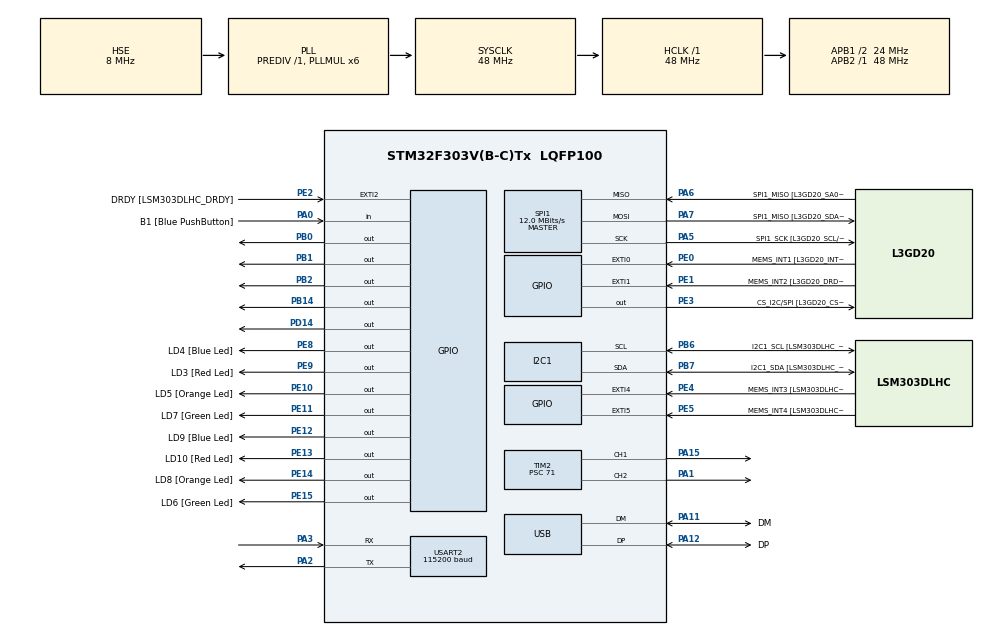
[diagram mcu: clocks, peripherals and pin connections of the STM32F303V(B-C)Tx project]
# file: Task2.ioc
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I2C1.Timing=0x2000090E
I2C1.Timing-I2C=0x2000090E
Mcu.Family=STM32F3
Mcu.Name=STM32F303V(B-C)Tx
Mcu.Package=LQFP100
NVIC.PriorityGroup=NVIC_PRIORITYGROUP_0
NVIC.TIM2_IRQn=true\:0\:0\:false\:false\:true\:true\:true\:true
NVIC.TIM6_DAC_IRQn=true\:0\:0\:false\:false\:true\:true\:true\:true
NVIC.USB_LP_CAN_RX0_IRQn=true\:0\:0\:false\:false\:true\:false\:true\:true
PA0.GPIO_Label=B1 [Blue PushButton]
PA0.Signal=GPIO_Input
PA1.Signal=S_TIM2_CH2
PA11.GPIO_Label=DM
PA11.Mode=Device
PA11.Signal=USB_DM
PA12.GPIO_Label=DP
PA12.Mode=Device
PA12.Signal=USB_DP
PA13.GPIO_Label=SWDIO
PA13.Mode=Serial_Wire
PA13.Signal=SYS_JTMS-SWDIO
PA14.GPIO_Label=SWCLK
PA14.Mode=Serial_Wire
PA14.Signal=SYS_JTCK-SWCLK
PA15.Signal=S_TIM2_CH1_ETR
PA2.Mode=Asynchronous
PA2.Signal=USART2_TX
PA3.Mode=Asynchronous
PA3.Signal=USART2_RX
PA5.GPIO_Label=SPI1_SCK [L3GD20_SCL/SPC]
PA5.Mode=Full_Duplex_Master
PA5.Signal=SPI1_SCK
PA6.GPIO_Label=SPI1_MISO [L3GD20_SA0/SDO]
PA6.Mode=Full_Duplex_Master
PA6.Signal=SPI1_MISO
PA7.GPIO_Label=SPI1_MISO [L3GD20_SDA/SDI/SDO]
PA7.Mode=Full_Duplex_Master
PA7.Signal=SPI1_MOSI
PB0.Signal=GPIO_Output
PB1.Signal=GPIO_Output
PB14.Signal=GPIO_Output
PB2.Signal=GPIO_Output
PB3.GPIO_Label=SWO
PB3.Signal=SYS_JTDO-TRACESWO
PB6.GPIO_Label=I2C1_SCL [LSM303DLHC_SCL]
PB6.GPIO_Pu=GPIO_PULLUP
PB6.Mode=I2C
PB6.Signal=I2C1_SCL
PB7.GPIO_Label=I2C1_SDA [LSM303DLHC_SDA]
PB7.GPIO_Pu=GPIO_PULLUP
PB7.Mode=I2C
PB7.Signal=I2C1_SDA
PC14-OSC32_IN.GPIO_Label=OSC32_IN
PC14-OSC32_IN.Signal=RCC_OSC32_IN
PC15-OSC32_OUT.GPIO_Label=OSC32_OUT
PC15-OSC32_OUT.Signal=RCC_OSC32_OUT
PD14.Signal=GPIO_Output
PE0.GPIO_Label=MEMS_INT1 [L3GD20_INT1]
PE0.GPIO_ModeDefaultEXTI=GPIO_MODE_EVT_RISING
PE0.Signal=GPXTI0
PE1.GPIO_Label=MEMS_INT2 [L3GD20_DRDY/INT2]
PE1.GPIO_ModeDefaultEXTI=GPIO_MODE_EVT_RISING
PE1.Signal=GPXTI1
PE10.GPIO_Label=LD5 [Orange Led]
PE10.Signal=GPIO_Output
PE11.GPIO_Label=LD7 [Green Led]
PE11.Signal=GPIO_Output
PE12.GPIO_Label=LD9 [Blue Led]
PE12.Signal=GPIO_Output
PE13.GPIO_Label=LD10 [Red Led]
PE13.Signal=GPIO_Output
PE14.GPIO_Label=LD8 [Orange Led]
PE14.Signal=GPIO_Output
PE15.GPIO_Label=LD6 [Green Led]
PE15.Signal=GPIO_Output
PE2.GPIO_Label=DRDY [LSM303DLHC_DRDY]
PE2.GPIO_ModeDefaultEXTI=GPIO_MODE_EVT_RISING
PE2.Signal=GPXTI2
PE3.GPIO_Label=CS_I2C/SPI [L3GD20_CS_I2C/SPI]
PE3.Signal=GPIO_Output
PE4.GPIO_Label=MEMS_INT3 [LSM303DLHC_INT1]
PE4.GPIO_ModeDefaultEXTI=GPIO_MODE_EVT_RISING
PE4.Signal=GPXTI4
PE5.GPIO_Label=MEMS_INT4 [LSM303DLHC_INT2]
PE5.GPIO_ModeDefaultEXTI=GPIO_MODE_EVT_RISING
PE5.Signal=GPXTI5
PE8.GPIO_Label=LD4 [Blue Led]
PE8.Signal=GPIO_Output
PE9.GPIO_Label=LD3 [Red Led]
PE9.Signal=GPIO_Output
PF0-OSC_IN.GPIO_Label=OSC_IN
PF0-OSC_IN.Mode=HSE-External-Clock-Source
PF0-OSC_IN.Signal=RCC_OSC_IN
PF1-OSC_OUT.GPIO_Label=OSC_OUT
PF1-OSC_OUT.Signal=RCC_OSC_OUT
ProjectManager.HeapSize=0x200
ProjectManager.StackSize=0x400
ProjectManager.TargetToolchain=CMake
RCC.AHBFreq_Value=48000000
RCC.APB1CLKDivider=RCC_HCLK_DIV2
RCC.APB1Freq_Value=24000000
RCC.APB1TimFreq_Value=48000000
RCC.APB2Freq_Value=48000000
RCC.APB2TimFreq_Value=48000000
RCC.CortexFreq_Value=48000000
RCC.HCLKFreq_Value=48000000
RCC.HSE_VALUE=8000000
RCC.HSI_VALUE=8000000
RCC.LSE_VALUE=32768
RCC.PLLMUL=RCC_PLL_MUL6
RCC.SYSCLKFreq_VALUE=48000000
RCC.SYSCLKSourceVirtual=RCC_SYSCLKSOURCE_PLLCLK
RCC.USBFreq_Value=48000000
SH.S_TIM2_CH1_ETR.0=TIM2_CH1,PWM Generation1 CH1
SH.S_TIM2_CH2.0=TIM2_CH2,PWM Generation2 CH2
SPI1.BaudRatePrescaler=SPI_BAUDRATEPRESCALER_4
SPI1.BaudRatePrescaler-Full_Duplex_Master=SPI_BAUDRATEPRESCALER_2
SPI1.CalculateBaudRate=12.0 MBits/s
SPI1.CalculateBaudRate-Full_Duplex_Master=24.0 MBits/s
SPI1.DataSize=SPI_DATASIZE_8BIT
SPI1.Direction=SPI_DIRECTION_2LINES
SPI1.Mode=SPI_MODE_MASTER
SPI1.Mode-Full_Duplex_Master=SPI_MODE_MASTER
SPI1.VirtualType=VM_MASTER
TIM2.Channel-PWM\ Generation1\ CH1=TIM_CHANNEL_1
TIM2.Channel-PWM\ Generation2\ CH2=TIM_CHANNEL_2
TIM2.Period=999
TIM2.Prescaler=71
TIM6.Period=4999
TIM6.Prescaler=47
USART2.BaudRate=115200
USART2.VirtualMode-Asynchronous=VM_ASYNC
USB_DEVICE.CLASS_NAME_FS=CDC
USB_DEVICE.VirtualMode=Cdc
USB_DEVICE.VirtualModeFS=Cdc_FS
VP_TIM6_VS_ClockSourceINT.Mode=Enable_Timer
VP_USB_DEVICE_VS_USB_DEVICE_CDC_FS.Mode=CDC_FS
board=STM32F3DISCOVERY

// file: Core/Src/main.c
/* USER CODE BEGIN Header */
/**
******************************************************************************
* @file : main.c
* @brief : Lab 11 Task 2 - PID Controlled Self-Balancing Robot
* STM32F3Discovery + Keyestudio KS0193 Balance Shield
* - L3GD20 Gyro (SPI1), LSM303DLHC Accel (I2C1)
* - TB6612FNG Motor Driver via PWM + GPIO
* - Timer ISR for fixed-rate control loop (200 Hz)
* - UART output via USART2 (PA2=TX)
******************************************************************************
*/
/* USER CODE END Header */
#include "main.h"
#include "usb_device.h"

/* USER CODE BEGIN Includes */
#include <stdio.h>
#include "app_control.h"
#include "app_imu.h"
#include "app_uart.h"
/* USER CODE END Includes */

I2C_HandleTypeDef hi2c1;

SPI_HandleTypeDef hspi1;

TIM_HandleTypeDef htim2;
TIM_HandleTypeDef htim6;

UART_HandleTypeDef huart2;

void SystemClock_Config(void);
static void MX_GPIO_Init(void);
static void MX_I2C1_Init(void);
static void MX_SPI1_Init(void);
static void MX_TIM2_Init(void);
static void MX_TIM6_Init(void);
static void MX_USART2_UART_Init(void);

/* USER CODE BEGIN 0 */
/**
 * @brief Timer interrupt callback for control loop execution.
 * @param htim Pointer to the timer handle.
 */
void HAL_TIM_PeriodElapsedCallback(TIM_HandleTypeDef *htim) {
    if (htim->Instance == TIM6) {
        // Trigger the high-frequency control loop at every TIM6 overflow
        Control_LoopTick();
    }
}

/* USER CODE END 0 */

int main(void)
{

    /* MCU Configuration--------------------------------------------------------*/

    /* Reset of all peripherals, Initializes the Flash interface and the Systick. */
    HAL_Init();

    /* Configure the system clock */
    SystemClock_Config();

    /* Initialize all configured peripherals */
    MX_GPIO_Init();
    MX_I2C1_Init();
    MX_SPI1_Init();
    MX_TIM2_Init();
    MX_TIM6_Init();
    MX_USART2_UART_Init();
    MX_USB_DEVICE_Init();
    /* USER CODE BEGIN 2 */

    HAL_Delay(100);

    // Initialize sensors
    Gyro_Init();
    Accel_Init();
    HAL_Delay(100);

    // Gyro offset calibration (keep robot still during this phase)
    Gyro_Calibration();

    // Accel offset calibration (keep robot still in the reference pose)
    Accel_Calibration();

    const Gyro_Data *gyro_cal = Gyro_GetCalibration();
    const Accel_Data *accel_cal = Accel_GetCalibration();

    // Verify sensors
    char msg[128];
    uint8_t who = Gyro_ReadReg(GYRO_WHO_AM_I);
    snprintf(msg, sizeof(msg), "Gyro WHO_AM_I: 0x%02X\r\n", who);
    UART_Print(msg);

    uint8_t acc_who = 0;
    HAL_I2C_Mem_Read(&hi2c1, ACC_I2C_ADDR, 0x0F,
    I2C_MEMADD_SIZE_8BIT, &acc_who, 1, HAL_MAX_DELAY);
    snprintf(msg, sizeof(msg), "Accel WHO_AM_I: 0x%02X\r\n", acc_who);
    UART_Print(msg);

    snprintf(msg, sizeof(msg), "Gyro offsets (dps): X=%.3f Y=%.3f Z=%.3f\r\n",
    gyro_cal->offset_x, gyro_cal->offset_y, gyro_cal->offset_z);
    UART_Print(msg);

    snprintf(msg, sizeof(msg), "Accel offsets (mg): X=%.3f Y=%.3f Z=%.3f\r\n",
    accel_cal->offset_x, accel_cal->offset_y, accel_cal->offset_z);
    UART_Print(msg);

    snprintf(msg, sizeof(msg), "PID: Kp=%.1f Ki=%.1f Kd=%.1f DT=%.3f\r\n", KP, KI, KD, DT);
    UART_Print(msg);

    HAL_Delay(500);

    // Start PWM on both motor channels (TIMER 2, Channels 1 & 2)
    HAL_TIM_PWM_Start(&htim2, TIM_CHANNEL_1);
    HAL_TIM_PWM_Start(&htim2, TIM_CHANNEL_2);
    // Initialize PWM comparators to 0 (motors off initially)
    __HAL_TIM_SET_COMPARE(&htim2, TIM_CHANNEL_1, 0);
    __HAL_TIM_SET_COMPARE(&htim2, TIM_CHANNEL_2, 0);

    // Start timer ISR (200 Hz control loop on TIMER 6)
    HAL_TIM_Base_Start_IT(&htim6);

    UART_Print("Control loop started at 200 Hz\r\n");

    /* USER CODE END 2 */

    /* Infinite loop */
    while (1) {

        /* USER CODE BEGIN 3 */
        // Check if there is new telemetry data ready to be displayed
        if (display_flag == 1) {
            display_flag = 0;

            // Read shared variables updated by the control loop
            float angle = shared_angle;
            float pid = shared_pid_output;
            uint8_t cutoff = shared_motor_cutoff;

            // Print telemetry: angle, pid_output (CSV format suitable for plotting)
            snprintf(msg, sizeof(msg), "%.2f,%.2f,%u\r\n", angle, pid, cutoff);
            UART_Print(msg);
        }
    }
    /* USER CODE END 3 */
}

void SystemClock_Config(void)
{
    RCC_OscInitTypeDef RCC_OscInitStruct = {0};
    RCC_ClkInitTypeDef RCC_ClkInitStruct = {0};
    RCC_PeriphCLKInitTypeDef PeriphClkInit = {0};

    /** Initializes the RCC Oscillators according to the specified parameters
    * in the RCC_OscInitTypeDef structure.
    */
    RCC_OscInitStruct.OscillatorType = RCC_OSCILLATORTYPE_HSI|RCC_OSCILLATORTYPE_HSE;
    RCC_OscInitStruct.HSEState = RCC_HSE_BYPASS;
    RCC_OscInitStruct.HSEPredivValue = RCC_HSE_PREDIV_DIV1;
    RCC_OscInitStruct.HSIState = RCC_HSI_ON;
    RCC_OscInitStruct.HSICalibrationValue = RCC_HSICALIBRATION_DEFAULT;
    RCC_OscInitStruct.PLL.PLLState = RCC_PLL_ON;
    RCC_OscInitStruct.PLL.PLLSource = RCC_PLLSOURCE_HSE;
    RCC_OscInitStruct.PLL.PLLMUL = RCC_PLL_MUL6;
    if (HAL_RCC_OscConfig(&RCC_OscInitStruct) != HAL_OK) {
        Error_Handler();
    }

    /** Initializes the CPU, AHB and APB buses clocks
    */
    RCC_ClkInitStruct.ClockType = RCC_CLOCKTYPE_HCLK|RCC_CLOCKTYPE_SYSCLK
    |RCC_CLOCKTYPE_PCLK1|RCC_CLOCKTYPE_PCLK2;
    RCC_ClkInitStruct.SYSCLKSource = RCC_SYSCLKSOURCE_PLLCLK;
    RCC_ClkInitStruct.AHBCLKDivider = RCC_SYSCLK_DIV1;
    RCC_ClkInitStruct.APB1CLKDivider = RCC_HCLK_DIV2;
    RCC_ClkInitStruct.APB2CLKDivider = RCC_HCLK_DIV1;

    if (HAL_RCC_ClockConfig(&RCC_ClkInitStruct, FLASH_LATENCY_1) != HAL_OK) {
        Error_Handler();
    }
    PeriphClkInit.PeriphClockSelection = RCC_PERIPHCLK_USB|RCC_PERIPHCLK_USART2
    |RCC_PERIPHCLK_I2C1;
    PeriphClkInit.Usart2ClockSelection = RCC_USART2CLKSOURCE_PCLK1;
    PeriphClkInit.I2c1ClockSelection = RCC_I2C1CLKSOURCE_HSI;
    PeriphClkInit.USBClockSelection = RCC_USBCLKSOURCE_PLL;
    if (HAL_RCCEx_PeriphCLKConfig(&PeriphClkInit) != HAL_OK) {
        Error_Handler();
    }
}

static void MX_I2C1_Init(void)
{

    hi2c1.Instance = I2C1;
    hi2c1.Init.Timing = 0x2000090E;
    hi2c1.Init.OwnAddress1 = 0;
    hi2c1.Init.AddressingMode = I2C_ADDRESSINGMODE_7BIT;
    hi2c1.Init.DualAddressMode = I2C_DUALADDRESS_DISABLE;
    hi2c1.Init.OwnAddress2 = 0;
    hi2c1.Init.OwnAddress2Masks = I2C_OA2_NOMASK;
    hi2c1.Init.GeneralCallMode = I2C_GENERALCALL_DISABLE;
    hi2c1.Init.NoStretchMode = I2C_NOSTRETCH_DISABLE;
    if (HAL_I2C_Init(&hi2c1) != HAL_OK) {
        Error_Handler();
    }

    /** Configure Analogue filter
    */
    if (HAL_I2CEx_ConfigAnalogFilter(&hi2c1, I2C_ANALOGFILTER_ENABLE) != HAL_OK) {
        Error_Handler();
    }

    /** Configure Digital filter
    */
    if (HAL_I2CEx_ConfigDigitalFilter(&hi2c1, 0) != HAL_OK) {
        Error_Handler();
    }

}

static void MX_SPI1_Init(void)
{

    /* SPI1 parameter configuration*/
    hspi1.Instance = SPI1;
    hspi1.Init.Mode = SPI_MODE_MASTER;
    hspi1.Init.Direction = SPI_DIRECTION_2LINES;
    hspi1.Init.DataSize = SPI_DATASIZE_8BIT;
    hspi1.Init.CLKPolarity = SPI_POLARITY_HIGH;
    hspi1.Init.CLKPhase = SPI_PHASE_2EDGE;
    hspi1.Init.NSS = SPI_NSS_SOFT;
    hspi1.Init.BaudRatePrescaler = SPI_BAUDRATEPRESCALER_8;
    hspi1.Init.FirstBit = SPI_FIRSTBIT_MSB;
    hspi1.Init.TIMode = SPI_TIMODE_DISABLE;
    hspi1.Init.CRCCalculation = SPI_CRCCALCULATION_DISABLE;
    hspi1.Init.CRCPolynomial = 7;
    hspi1.Init.CRCLength = SPI_CRC_LENGTH_DATASIZE;
    hspi1.Init.NSSPMode = SPI_NSS_PULSE_DISABLE;
    if (HAL_SPI_Init(&hspi1) != HAL_OK) {
        Error_Handler();
    }

}

static void MX_TIM2_Init(void)
{

    TIM_MasterConfigTypeDef sMasterConfig = {0};
    TIM_OC_InitTypeDef sConfigOC = {0};

    htim2.Instance = TIM2;
    htim2.Init.Prescaler = 9;
    htim2.Init.CounterMode = TIM_COUNTERMODE_UP;
    htim2.Init.Period = 999;
    htim2.Init.ClockDivision = TIM_CLOCKDIVISION_DIV1;
    htim2.Init.AutoReloadPreload = TIM_AUTORELOAD_PRELOAD_DISABLE;
    if (HAL_TIM_PWM_Init(&htim2) != HAL_OK) {
        Error_Handler();
    }
    sMasterConfig.MasterOutputTrigger = TIM_TRGO_RESET;
    sMasterConfig.MasterSlaveMode = TIM_MASTERSLAVEMODE_DISABLE;
    if (HAL_TIMEx_MasterConfigSynchronization(&htim2, &sMasterConfig) != HAL_OK) {
        Error_Handler();
    }
    sConfigOC.OCMode = TIM_OCMODE_PWM1;
    sConfigOC.Pulse = 0;
    sConfigOC.OCPolarity = TIM_OCPOLARITY_HIGH;
    sConfigOC.OCFastMode = TIM_OCFAST_DISABLE;
    if (HAL_TIM_PWM_ConfigChannel(&htim2, &sConfigOC, TIM_CHANNEL_1) != HAL_OK) {
        Error_Handler();
    }
    if (HAL_TIM_PWM_ConfigChannel(&htim2, &sConfigOC, TIM_CHANNEL_2) != HAL_OK) {
        Error_Handler();
    }
    HAL_TIM_MspPostInit(&htim2);

}

static void MX_TIM6_Init(void)
{

    TIM_MasterConfigTypeDef sMasterConfig = {0};

    htim6.Instance = TIM6;
    htim6.Init.Prescaler = 47;
    htim6.Init.CounterMode = TIM_COUNTERMODE_UP;
    htim6.Init.Period = 4999;
    htim6.Init.AutoReloadPreload = TIM_AUTORELOAD_PRELOAD_DISABLE;
    if (HAL_TIM_Base_Init(&htim6) != HAL_OK) {
        Error_Handler();
    }
    sMasterConfig.MasterOutputTrigger = TIM_TRGO_RESET;
    sMasterConfig.MasterSlaveMode = TIM_MASTERSLAVEMODE_DISABLE;
    if (HAL_TIMEx_MasterConfigSynchronization(&htim6, &sMasterConfig) != HAL_OK) {
        Error_Handler();
    }

}

static void MX_USART2_UART_Init(void)
{

    huart2.Instance = USART2;
    huart2.Init.BaudRate = 115200;
    huart2.Init.WordLength = UART_WORDLENGTH_8B;
    huart2.Init.StopBits = UART_STOPBITS_1;
    huart2.Init.Parity = UART_PARITY_NONE;
    huart2.Init.Mode = UART_MODE_TX_RX;
    huart2.Init.HwFlowCtl = UART_HWCONTROL_NONE;
    huart2.Init.OverSampling = UART_OVERSAMPLING_16;
    huart2.Init.OneBitSampling = UART_ONE_BIT_SAMPLE_DISABLE;
    huart2.AdvancedInit.AdvFeatureInit = UART_ADVFEATURE_NO_INIT;
    if (HAL_UART_Init(&huart2) != HAL_OK) {
        Error_Handler();
    }

}

static void MX_GPIO_Init(void)
{
    GPIO_InitTypeDef GPIO_InitStruct = {0};

    /* GPIO Ports Clock Enable */
    __HAL_RCC_GPIOE_CLK_ENABLE();
    __HAL_RCC_GPIOC_CLK_ENABLE();
    __HAL_RCC_GPIOF_CLK_ENABLE();
    __HAL_RCC_GPIOA_CLK_ENABLE();
    __HAL_RCC_GPIOB_CLK_ENABLE();
    __HAL_RCC_GPIOD_CLK_ENABLE();

    /*Configure GPIO pin Output Level */
    HAL_GPIO_WritePin(GPIOE, CS_I2C_SPI_Pin|LD4_Pin|LD3_Pin|LD5_Pin
    |LD7_Pin|LD9_Pin|LD10_Pin|LD8_Pin
    |LD6_Pin, GPIO_PIN_RESET);

    /*Configure GPIO pin Output Level */
    HAL_GPIO_WritePin(GPIOB, GPIO_PIN_0|GPIO_PIN_1|GPIO_PIN_2|GPIO_PIN_14, GPIO_PIN_RESET);

    /*Configure GPIO pin Output Level */
    HAL_GPIO_WritePin(GPIOD, GPIO_PIN_14, GPIO_PIN_RESET);

    /*Configure GPIO pins : DRDY_Pin MEMS_INT3_Pin MEMS_INT4_Pin MEMS_INT1_Pin
    MEMS_INT2_Pin */
    GPIO_InitStruct.Pin = DRDY_Pin|MEMS_INT3_Pin|MEMS_INT4_Pin|MEMS_INT1_Pin
    |MEMS_INT2_Pin;
    GPIO_InitStruct.Mode = GPIO_MODE_EVT_RISING;
    GPIO_InitStruct.Pull = GPIO_NOPULL;
    HAL_GPIO_Init(GPIOE, &GPIO_InitStruct);

    /*Configure GPIO pins : CS_I2C_SPI_Pin LD4_Pin LD3_Pin LD5_Pin
    LD7_Pin LD9_Pin LD10_Pin LD8_Pin
    LD6_Pin */
    GPIO_InitStruct.Pin = CS_I2C_SPI_Pin|LD4_Pin|LD3_Pin|LD5_Pin
    |LD7_Pin|LD9_Pin|LD10_Pin|LD8_Pin
    |LD6_Pin;
    GPIO_InitStruct.Mode = GPIO_MODE_OUTPUT_PP;
    GPIO_InitStruct.Pull = GPIO_NOPULL;
    GPIO_InitStruct.Speed = GPIO_SPEED_FREQ_LOW;
    HAL_GPIO_Init(GPIOE, &GPIO_InitStruct);

    /*Configure GPIO pin : B1_Pin */
    GPIO_InitStruct.Pin = B1_Pin;
    GPIO_InitStruct.Mode = GPIO_MODE_INPUT;
    GPIO_InitStruct.Pull = GPIO_NOPULL;
    HAL_GPIO_Init(B1_GPIO_Port, &GPIO_InitStruct);

    /*Configure GPIO pins : PB0 PB1 PB2 PB14 */
    GPIO_InitStruct.Pin = GPIO_PIN_0|GPIO_PIN_1|GPIO_PIN_2|GPIO_PIN_14;
    GPIO_InitStruct.Mode = GPIO_MODE_OUTPUT_PP;
    GPIO_InitStruct.Pull = GPIO_NOPULL;
    GPIO_InitStruct.Speed = GPIO_SPEED_FREQ_LOW;
    HAL_GPIO_Init(GPIOB, &GPIO_InitStruct);

    /*Configure GPIO pin : PD14 */
    GPIO_InitStruct.Pin = GPIO_PIN_14;
    GPIO_InitStruct.Mode = GPIO_MODE_OUTPUT_PP;
    GPIO_InitStruct.Pull = GPIO_NOPULL;
    GPIO_InitStruct.Speed = GPIO_SPEED_FREQ_LOW;
    HAL_GPIO_Init(GPIOD, &GPIO_InitStruct);

}

void Error_Handler(void)
{
    __disable_irq();
    while (1) {
    }
}
